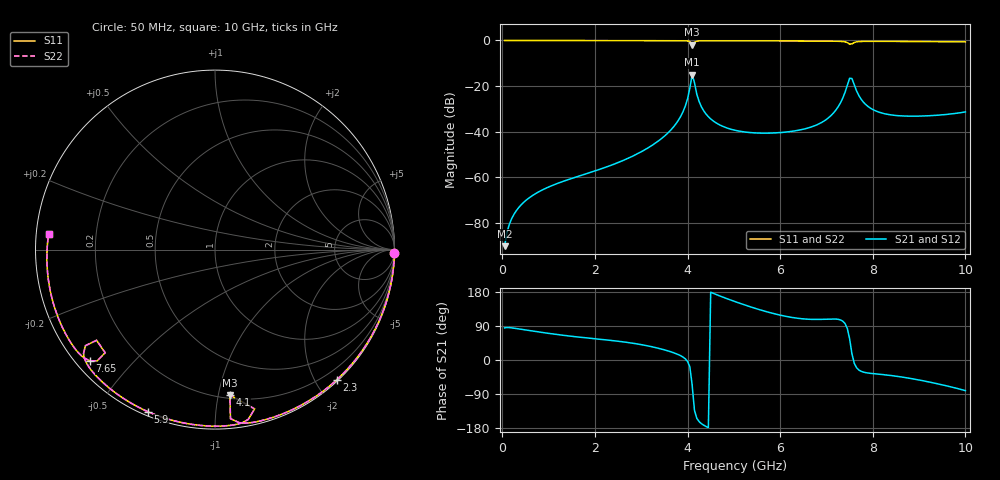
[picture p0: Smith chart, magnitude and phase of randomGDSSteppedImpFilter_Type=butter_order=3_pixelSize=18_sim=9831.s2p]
! freq	dB(S11)	phase(S11)	dB(S12)	phase(S12)
!  dB(S21)	phase(S21)	dB(S22)	phase(S22)
!S-par simulation data
#  GHz  S  DB  R 50
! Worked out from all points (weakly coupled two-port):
!   200 points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, 50 MHz to 10 GHz, reference 50 ohm
!   highest |S21| = -15.00 dB at 4.1 GHz (marker M1); lowest = -90.3 dB at 50 MHz (marker M2)
!   lowest |S11| = -1.8 dB at 4.1 GHz (marker M3), VSWR 9.77, Z = 11.2 - j54.1 ohm
!   |S11| at or under -10 dB: nowhere
!   |S22| runs from -1.8 to 0.0 dB; largest |S21 - S12| = 0
!   S11 on the Smith chart (normalised r, x): 50 MHz: open; 2.3 GHz: 0.02, -2.31; 4.1 GHz: 0.22, -1.08; 5.9 GHz: 0.02, -0.67; 7.65 GHz: 0.04, -0.38; 10 GHz: 0.04, +0.05
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0.05  -0.00 -1.0  -90.31 84.8  -90.31 84.8  -0.00 -1.0
0.15  -0.00 -3.1  -80.83 85.5  -80.83 85.5  -0.00 -3.1
0.4  -0.01 -8.3  -72.32 81.3  -72.32 81.3  -0.01 -8.3
0.7  -0.02 -14.6  -67.46 75.6  -67.46 75.6  -0.02 -14.6
1.75  -0.05 -35.9  -58.93 59.2  -58.93 59.2  -0.05 -35.9
2.3  -0.06 -46.9  -55.17 52.3  -55.17 52.3  -0.06 -46.9
3.4  -0.09 -68.3  -43.69 30.1  -43.69 30.1  -0.09 -68.3
3.9  -0.14 -78.8  -31.41 7.9  -31.41 7.9  -0.14 -78.8
4  -0.23 -82.0  -25.66 -3.8  -25.66 -3.8  -0.23 -82.0
4.1  -1.78 -84.2  -15.00 -65.8  -15.00 -65.8  -1.78 -84.1
4.15  -0.77 -76.0  -18.51 -132.9  -18.51 -132.9  -0.77 -76.0
4.25  -0.21 -81.0  -26.82 -162.6  -26.82 -162.6  -0.21 -81.0
4.4  -0.15 -84.9  -32.32 -175.4  -32.32 -175.4  -0.15 -84.9
5.05  -0.16 -97.4  -39.53 153.1  -39.53 153.1  -0.16 -97.4
5.9  -0.20 -112.4  -40.58 121.2  -40.58 121.2  -0.20 -112.4
6.7  -0.26 -126.5  -37.80 107.1  -37.80 107.1  -0.26 -126.5
7.2  -0.34 -136.1  -30.65 108.1  -30.65 108.1  -0.34 -136.1
7.5  -1.60 -142.6  -16.61 55.7  -16.61 55.7  -1.61 -142.6
7.65  -0.61 -138.4  -22.14 -20.5  -22.14 -20.5  -0.61 -138.4
7.9  -0.39 -144.9  -29.03 -34.4  -29.03 -34.4  -0.39 -144.9
8.35  -0.41 -153.6  -32.55 -40.3  -32.55 -40.3  -0.41 -153.6
10  -0.62 174.8  -31.37 -80.8  -31.37 -80.8  -0.62 174.8
